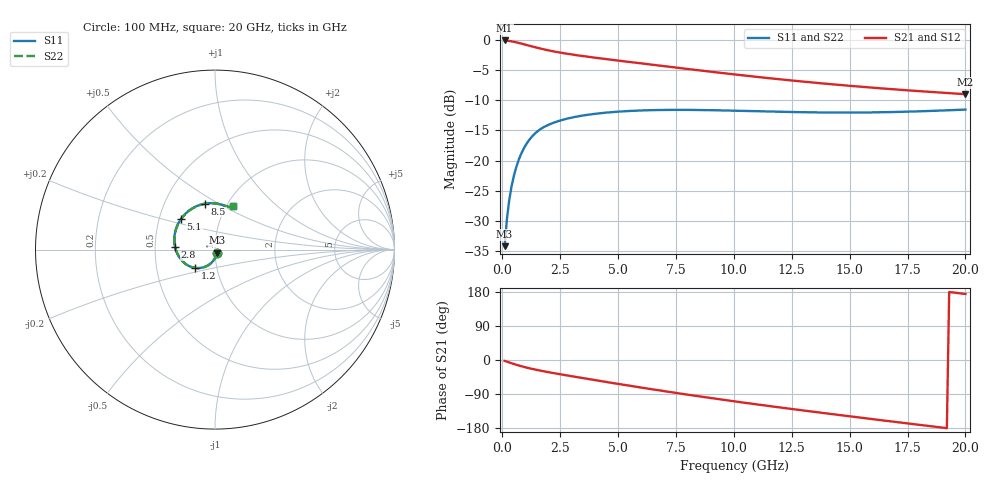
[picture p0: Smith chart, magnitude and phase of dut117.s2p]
! Touchstone file exported from HFSS 2023.1.0
!  File:  D:/Users/fzz/RDL_TSV/temp_RDL_TSV_117_1778750274.aedt
!  Generated:  5:28:56 %x4E0B%x5348  5%x6708 14, 2026
!  Design:  RDL_TSV
!  Project:  temp_RDL_TSV_117_1778750274
!  Setup:  Setup1
!  Solution:  Sweep
! Variables:
!  dtsv = 22.09um
!  hbump = 3um
!  htsv = 95.01um
!  ldown = 258.65um
!  lrdl = 265.66um
!  p = 40
!  p1 = 54.77um
!  rhole = 10um
!  subl = 1838.59um
!  t = 450um
!  tdown = 3.19um
!  trdl = 2.17um
!  viad = 10um
!  wdown = 20.45um
!  wrdl = 23.81um
!  xbump = 18um
# GHz S MA R 50.000000
! Terminal data exported
! Port[1] = TM1_1_T1
! Port[2] = TM1_4_T1
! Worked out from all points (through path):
!   200 points, 100 MHz to 20 GHz, reference 50 ohm
!   highest |S21| = -0.12 dB at 100 MHz (marker M1); lowest = -9.0 dB at 20 GHz (marker M2)
!   group delay of S21, straight-line fit = 24.3 ps
!   lowest |S11| = -34.2 dB at 100 MHz (marker M3), VSWR 1.04, Z = 51.1 - j1.67 ohm
!   |S11| at or under -10 dB: start of sweep to end of sweep
!   |S22| runs from -34.2 to -11.6 dB; largest |S21 - S12| = 3e-14
!   S11 on the Smith chart (normalised r, x): 100 MHz: 1.02, -0.03; 1.2 GHz: 0.78, -0.16; 2.8 GHz: 0.64, +0.02; 5.1 GHz: 0.65, +0.24; 8.5 GHz: 0.79, +0.44; 20 GHz: 1.08, +0.56
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0.1  0.01958 -56.5  0.9867 -2.2  0.9867 -2.2  0.01958 -56.5
! Gamma 0 0 0 0
! Port Impedance 50 0 50 0
0.2  0.03289 -78.0  0.9832 -4.4  0.9832 -4.4  0.03289 -78.0
0.3  0.04705 -89.4  0.9777 -6.5  0.9777 -6.5  0.04705 -89.4
0.4  0.06111 -97.6  0.9706 -8.6  0.9706 -8.6  0.06112 -97.6
0.5  0.07477 -104.3  0.9622 -10.6  0.9622 -10.6  0.07478 -104.3
0.6  0.08785 -110.2  0.9528 -12.5  0.9528 -12.5  0.08787 -110.2
0.8  0.112 -120.5  0.9322 -16.0  0.9322 -16.0  0.112 -120.5
1  0.1331 -129.6  0.9106 -19.3  0.9106 -19.3  0.1332 -129.6
1.2  0.1514 -137.8  0.8892 -22.3  0.8892 -22.3  0.1514 -137.8
1.5  0.1735 -148.9  0.8592 -26.3  0.8592 -26.3  0.1734 -148.9
1.8  0.1896 -158.6  0.8326 -29.9  0.8326 -29.9  0.1896 -158.6
2.8  0.2224 176.8  0.766 -40.8  0.766 -40.8  0.2223 176.9
3.5  0.2365 163.1  0.7319 -48.0  0.7319 -48.0  0.2362 163.3
5.1  0.2548 138.1  0.6689 -64.0  0.6689 -64.0  0.2543 138.2
6.8  0.2623 117.6  0.6108 -80.4  0.6108 -80.4  0.2616 117.8
8.5  0.2622 102.1  0.5583 -95.9  0.5583 -95.9  0.2613 102.2
10.1  0.2587 91.2  0.5146 -109.7  0.5146 -109.7  0.2576 91.3
11.7  0.2542 83.2  0.4768 -122.9  0.4768 -122.9  0.2531 83.4
13.4  0.2507 77.4  0.4427 -136.3  0.4427 -136.3  0.2495 77.5
15  0.2497 73.6  0.4157 -148.6  0.4157 -148.6  0.2486 73.8
16.7  0.2518 70.9  0.3916 -161.4  0.3916 -161.4  0.2507 71.0
20  0.2644 67.1  0.3545 174.2  0.3545 174.2  0.2632 67.2
